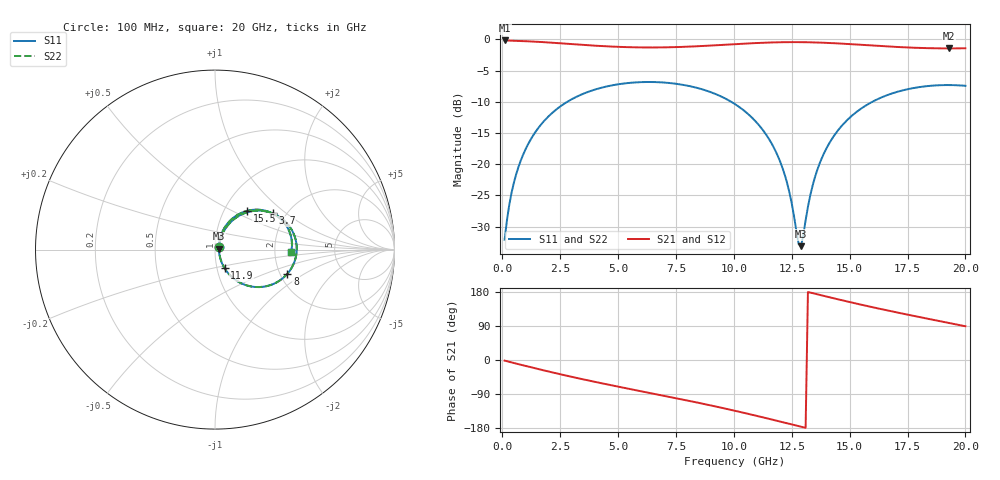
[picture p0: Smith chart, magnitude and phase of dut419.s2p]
! Touchstone file exported from HFSS 2026.1.0
!  File:  C:/ffzhzh/LocalFiles/Ansys_Project_Files/temp_train_TSV_RDL_419_1783095581_37876.aedt
!  Generated:  12:33:36 AM Jul  4, 2026
!  Design:  TSV_RDL
!  Project:  temp_train_TSV_RDL_419_1783095581_37876
! Variables:
!  h_bsmrdl = 3.38um
!  h_ox = 20um
!  h_rdl = 5um
!  h_sub = 86.29um
!  h_tmrdl = 4.98um
!  h_tsv = 86.29um
!  h_via = 3um
!  l_bsmrdl = 987.93um
!  l_sub = 4528.86um
!  l_tmrdl = 259.31um
!  m_sub = 200um
!  pitch = 43.27um
!  r_tsv = 4.65um
!  s_tmrdl = 10um
!  w_bsmrdl = 26.19um
!  w_sub = 500um
!  w_tmrdl = 16.42um
!  x_tsv_center1 = 267.52um
!  x_tsv_center2 = 1281.64um
!  x_tsv_center3 = 1557.37um
!  x_tsv_center4 = 2571.49um
!  x_tsv_center5 = 2847.22um
!  x_tsv_center6 = 3861.34um
# GHz S MA R 50.000000
! Terminal data exported
! Port[1] = TM_RDL1_1_T1
! Port[2] = TM_RDL5_1_T1
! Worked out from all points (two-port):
!   200 points, 100 MHz to 20 GHz, reference 50 ohm
!   highest |S21| = -0.18 dB at 100 MHz (marker M1); lowest = -1.5 dB at 19.3 GHz (marker M2)
!   |S21| within 3 dB of the highest: start of sweep to end of sweep
!   lowest |S11| = -33.1 dB at 12.9 GHz (marker M3), VSWR 1.05, Z = 52.2 + j0.524 ohm
!   |S11| at or under -10 dB: start of sweep to 2.808 GHz; 9.885 GHz to 15.98 GHz (6.097 GHz wide, 47.1 % of centre)
!   |S22| runs from -33.0 to -6.8 dB; largest |S21 - S12| = 1.9e-14
!   S11 on the Smith chart (normalised r, x): 100 MHz: 1.04, +0.03; 3.7 GHz: 1.71, +0.81; 8 GHz: 2.19, -0.72; 11.9 GHz: 1.09, -0.23; 15.5 GHz: 1.28, +0.60; 20 GHz: 2.47, -0.09
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0.1  0.02484 34.3  0.9798 -1.6  0.9798 -1.6  0.02484 34.3
! Gamma 0 0 0 0
! Port Impedance 50 0 50 0
0.3  0.04712 57.2  0.977 -4.8  0.977 -4.8  0.04712 57.2
0.5  0.07103 62.8  0.9743 -7.9  0.9743 -7.9  0.07103 62.8
1.1  0.143 62.8  0.9649 -17.1  0.9649 -17.1  0.143 62.8
2.1  0.2521 52.1  0.9413 -31.9  0.9413 -31.9  0.2521 52.2
3.5  0.3669 34.7  0.9024 -51.2  0.9024 -51.2  0.3669 34.7
3.7  0.3793 32.2  0.8972 -53.8  0.8972 -53.8  0.3793 32.2
5.3  0.4442 13.0  0.8671 -74.0  0.8671 -74.0  0.4441 13.0
6.8  0.4531 -4.4  0.8616 -92.2  0.8616 -92.2  0.4531 -4.4
8  0.4254 -18.4  0.8733 -107.0  0.8733 -107.0  0.4254 -18.4
10.1  0.2986 -44.0  0.9162 -134.7  0.9162 -134.7  0.2986 -44.0
11.1  0.2039 -56.0  0.9366 -149.0  0.9366 -149.0  0.2039 -55.9
11.9  0.1163 -62.9  0.9472 -160.9  0.9472 -160.9  0.1162 -62.7
12.3  0.07072 -61.7  0.9498 -167.0  0.9498 -167.0  0.07072 -61.4
12.8  0.02291 -16.2  0.95 -174.5  0.95 -174.5  0.02317 -15.7
12.9  0.02205 13.2  0.9496 -176.0  0.9496 -176.0  0.02237 13.3
13.4  0.06726 65.7  0.9459 176.4  0.9459 176.4  0.06746 65.4
14.2  0.1555 64.9  0.9338 164.5  0.9338 164.5  0.1557 64.8
15.5  0.2792 50.5  0.9043 146.0  0.9043 146.0  0.2794 50.5
16.7  0.3616 36.1  0.8759 129.9  0.8759 129.9  0.3618 36.1
19.3  0.4305 6.1  0.8462 97.6  0.8462 97.6  0.4306 6.0
20  0.4244 -1.9  0.8487 89.0  0.8487 89.0  0.4246 -1.9
